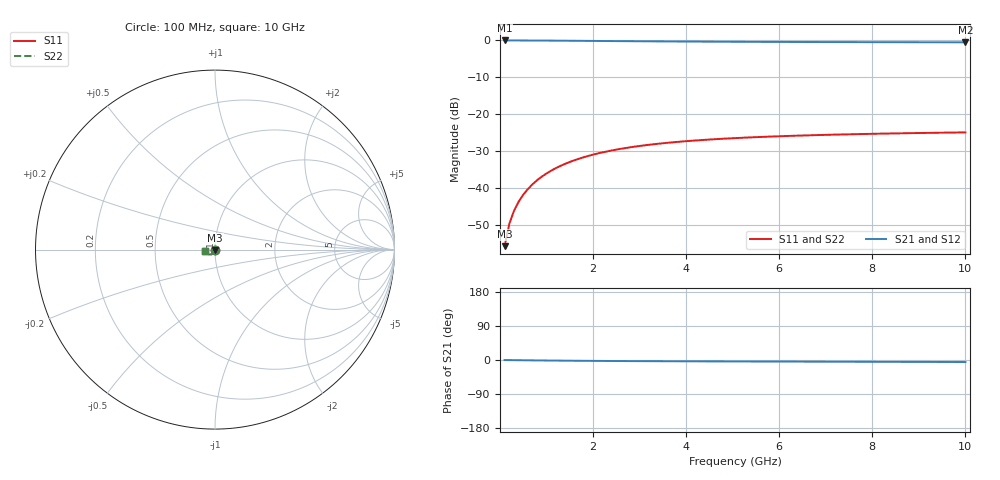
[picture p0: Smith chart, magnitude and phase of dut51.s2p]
! Touchstone file exported from HFSS 2024.1.0
!  File:  C:/UserFiles/LocalFiles/RDL_TSV_Batchsim/temp_TSV1_51_1778748672.aedt
!  Generated:  04:56:39 PM May 14, 2026
!  Design:  TSV1
!  Project:  temp_TSV1_51_1778748672
!  Setup:  Setup1
!  Solution:  Sweep
! Variables:
!  dtsv = 12.79um
!  hbump = 3um
!  htsv = 83.23um
!  lrdl = 252.1521522um
!  p = 40
!  p1 = 50.88um
!  t = 500um
!  trdl = 3um
!  wrdl = 24.89489489um
# GHz S MA R 50.000000
! Terminal data exported
! Port[1] = TSV22_T1
! Port[2] = TSV22_T2
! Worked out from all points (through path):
!   100 points, 100 MHz to 10 GHz, reference 50 ohm
!   highest |S21| = 0.00 dB at 100 MHz (marker M1); lowest = -0.5 dB at 10 GHz (marker M2)
!   lowest |S11| = -55.8 dB at 100 MHz (marker M3), VSWR 1.00, Z = 50 - j0.163 ohm
!   |S11| at or under -10 dB: start of sweep to end of sweep
!   |S22| runs from -55.8 to -24.9 dB; largest |S21 - S12| = 3e-15
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0.1  0.001631 -88.5  0.9999 -0.1  0.9999 -0.1  0.001631 -88.5
! Gamma 0 0 0 0
! Port Impedance 50 0 50 0
0.2  0.003259 -91.7  0.9997 -0.3  0.9997 -0.3  0.003259 -91.7
0.3  0.004885 -93.9  0.9994 -0.4  0.9994 -0.4  0.004885 -93.9
0.4  0.006503 -95.9  0.9991 -0.6  0.9991 -0.6  0.006503 -95.9
0.5  0.008108 -97.8  0.9986 -0.7  0.9986 -0.7  0.008108 -97.8
0.6  0.009693 -99.6  0.9981 -0.8  0.9981 -0.8  0.009693 -99.6
0.7  0.01126 -101.4  0.9975 -1.0  0.9975 -1.0  0.01126 -101.4
0.8  0.01279 -103.1  0.9968 -1.1  0.9968 -1.1  0.01279 -103.1
0.9  0.01429 -104.8  0.996 -1.2  0.996 -1.2  0.01429 -104.8
1.1  0.0172 -108.1  0.9944 -1.5  0.9944 -1.5  0.0172 -108.1
1.4  0.02128 -112.9  0.9915 -1.8  0.9915 -1.8  0.02128 -112.9
1.6  0.0238 -115.8  0.9895 -2.0  0.9895 -2.0  0.0238 -115.8
1.8  0.02616 -118.7  0.9874 -2.2  0.9874 -2.2  0.02616 -118.7
2.1  0.0294 -122.6  0.9841 -2.4  0.9841 -2.4  0.0294 -122.6
2.5  0.03319 -127.5  0.9799 -2.7  0.9799 -2.7  0.03319 -127.5
2.9  0.03643 -131.8  0.9758 -2.9  0.9758 -2.9  0.03643 -131.8
3.4  0.03983 -136.6  0.9712 -3.2  0.9712 -3.2  0.03983 -136.6
4.2  0.0441 -143.1  0.9649 -3.5  0.9649 -3.5  0.0441 -143.1
5.1  0.04766 -149.1  0.9593 -3.9  0.9593 -3.9  0.04766 -149.1
6.7  0.05195 -157.4  0.952 -4.4  0.952 -4.4  0.05195 -157.4
8.4  0.05488 -164.1  0.9469 -4.9  0.9469 -4.9  0.05488 -164.1
10  0.05678 -169.3  0.9436 -5.4  0.9436 -5.4  0.05678 -169.3
